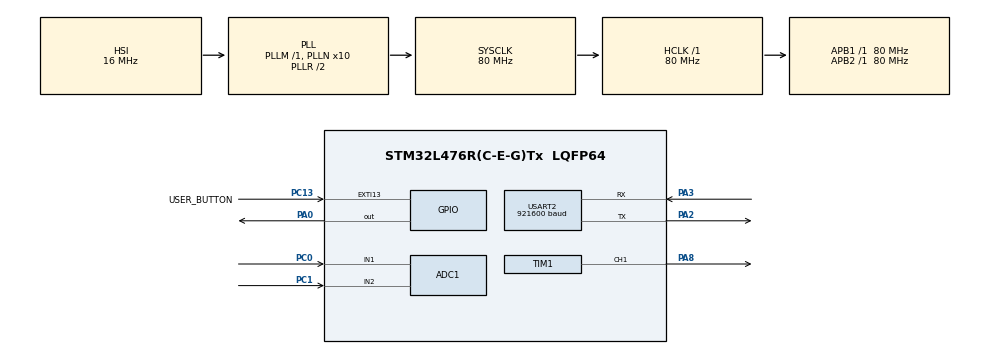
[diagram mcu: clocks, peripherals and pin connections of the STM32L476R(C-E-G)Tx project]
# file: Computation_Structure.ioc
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ADC1.Channel-0\#ChannelRegularConversion=ADC_CHANNEL_1
ADC1.Channel-1\#ChannelRegularConversion=ADC_CHANNEL_2
ADC1.ContinuousConvMode=ENABLE
ADC1.EOCSelection=ADC_EOC_SEQ_CONV
ADC1.NbrOfConversion=2
ADC1.NbrOfConversionFlag=1
ADC1.OffsetNumber-0\#ChannelRegularConversion=ADC_OFFSET_NONE
ADC1.OffsetNumber-1\#ChannelRegularConversion=ADC_OFFSET_NONE
ADC1.Rank-0\#ChannelRegularConversion=1
ADC1.Rank-1\#ChannelRegularConversion=2
ADC1.SamplingTime-0\#ChannelRegularConversion=ADC_SAMPLETIME_2CYCLES_5
ADC1.SamplingTime-1\#ChannelRegularConversion=ADC_SAMPLETIME_2CYCLES_5
ADC1.master=1
Dma.ADC1.1.Direction=DMA_PERIPH_TO_MEMORY
Dma.ADC1.1.Instance=DMA1_Channel1
Dma.ADC1.1.MemDataAlignment=DMA_MDATAALIGN_HALFWORD
Dma.ADC1.1.MemInc=DMA_MINC_ENABLE
Dma.ADC1.1.Mode=DMA_NORMAL
Dma.ADC1.1.PeriphDataAlignment=DMA_PDATAALIGN_HALFWORD
Dma.ADC1.1.PeriphInc=DMA_PINC_DISABLE
Dma.ADC1.1.Priority=DMA_PRIORITY_HIGH
Dma.Request0=USART2_TX
Dma.Request1=ADC1
Dma.USART2_TX.0.Direction=DMA_MEMORY_TO_PERIPH
Dma.USART2_TX.0.Instance=DMA1_Channel7
Dma.USART2_TX.0.MemDataAlignment=DMA_MDATAALIGN_BYTE
Dma.USART2_TX.0.MemInc=DMA_MINC_ENABLE
Dma.USART2_TX.0.Mode=DMA_NORMAL
Dma.USART2_TX.0.PeriphDataAlignment=DMA_PDATAALIGN_BYTE
Dma.USART2_TX.0.PeriphInc=DMA_PINC_DISABLE
Dma.USART2_TX.0.Priority=DMA_PRIORITY_MEDIUM
Mcu.Family=STM32L4
Mcu.Name=STM32L476R(C-E-G)Tx
Mcu.Package=LQFP64
NVIC.DMA1_Channel1_IRQn=true\:0\:0\:false\:false\:true\:false\:true\:true
NVIC.DMA1_Channel7_IRQn=true\:0\:0\:false\:false\:true\:false\:true\:true
NVIC.EXTI15_10_IRQn=true\:0\:0\:false\:false\:true\:true\:true\:true
NVIC.PriorityGroup=NVIC_PRIORITYGROUP_4
NVIC.RTC_Alarm_IRQn=true\:0\:0\:false\:false\:true\:true\:true\:true
NVIC.TIM7_IRQn=true\:0\:0\:false\:false\:true\:true\:true\:true
NVIC.USART2_IRQn=true\:0\:0\:false\:false\:true\:true\:true\:true
PA0.Signal=GPIO_Output
PA2.Mode=Asynchronous
PA2.Signal=USART2_TX
PA3.Mode=Asynchronous
PA3.Signal=USART2_RX
PA8.Signal=S_TIM1_CH1
PC0.Signal=ADCx_IN1
PC1.Signal=ADCx_IN2
PC13.GPIO_Label=USER_BUTTON
PC13.Signal=GPXTI13
PH0-OSC_IN\ (PH0).Mode=HSE-External-Oscillator
PH0-OSC_IN\ (PH0).Signal=RCC_OSC_IN
PH1-OSC_OUT\ (PH1).Mode=HSE-External-Oscillator
PH1-OSC_OUT\ (PH1).Signal=RCC_OSC_OUT
ProjectManager.HeapSize=0x200
ProjectManager.StackSize=0x400
ProjectManager.TargetToolchain=STM32CubeIDE
RCC.ADCFreq_Value=64000000
RCC.AHBFreq_Value=80000000
RCC.APB1Freq_Value=80000000
RCC.APB1TimFreq_Value=80000000
RCC.APB2Freq_Value=80000000
RCC.APB2TimFreq_Value=80000000
RCC.CortexFreq_Value=80000000
RCC.HCLKFreq_Value=80000000
RCC.HSE_VALUE=8000000
RCC.HSI_VALUE=16000000
RCC.LSE_VALUE=32768
RCC.MSI_VALUE=4000000
RCC.PLLN=10
RCC.PLLSourceVirtual=RCC_PLLSOURCE_HSI
RCC.PREFETCH_ENABLE=1
RCC.SYSCLKFreq_VALUE=80000000
RCC.SYSCLKSource=RCC_SYSCLKSOURCE_PLLCLK
RCC.USBFreq_Value=64000000
RCC.VCOOutputFreq_Value=160000000
RTC.Alarm-Alarm\ A=RTC_ALARM_A
SH.ADCx_IN1.0=ADC1_IN1,IN1-Single-Ended
SH.ADCx_IN2.0=ADC1_IN2,IN2-Single-Ended
SH.S_TIM1_CH1.0=TIM1_CH1,PWM Generation1 CH1
TIM1.Channel-PWM\ Generation1\ CH1=TIM_CHANNEL_1
TIM1.Period=100-1
TIM1.Prescaler=800-1
TIM7.Period=10000-1
TIM7.Prescaler=8000-1
USART2.BaudRate=921600
USART2.VirtualMode-Asynchronous=VM_ASYNC
VP_RTC_VS_RTC_Activate.Mode=RTC_Enabled
VP_RTC_VS_RTC_Alarm_A_Intern.Mode=Alarm A
VP_RTC_VS_RTC_Calendar.Mode=RTC_Calendar
VP_TIM1_VS_ClockSourceINT.Mode=Internal
VP_TIM7_VS_ClockSourceINT.Mode=Enable_Timer
board=NUCLEO-L476RG

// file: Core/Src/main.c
/* USER CODE BEGIN Header */
/**
  ******************************************************************************
  * @file           : main.c
  * @brief          : Main program body
  ******************************************************************************
  * @attention
  *
  * Copyright (c) 2023 STMicroelectronics.
  * All rights reserved.
  *
  * This software is licensed under terms that can be found in the LICENSE file
  * in the root directory of this software component.
  * If no LICENSE file comes with this software, it is provided AS-IS.
  *
  ******************************************************************************
  */
/* USER CODE END Header */
#include "main.h"

/* USER CODE BEGIN Includes */
#include <stdio.h>
/* USER CODE END Includes */

ADC_HandleTypeDef hadc1;
DMA_HandleTypeDef hdma_adc1;

RTC_HandleTypeDef hrtc;

TIM_HandleTypeDef htim1;
TIM_HandleTypeDef htim7;

UART_HandleTypeDef huart2;
DMA_HandleTypeDef hdma_usart2_tx;

/* USER CODE BEGIN PV */
uint8_t Rx_data[10];
uint8_t Tx_busy=0;
uint16_t adc_buffer[32];
/* USER CODE END PV */

void SystemClock_Config(void);
static void MX_GPIO_Init(void);
static void MX_DMA_Init(void);
static void MX_USART2_UART_Init(void);
static void MX_TIM7_Init(void);
static void MX_TIM1_Init(void);
static void MX_ADC1_Init(void);
static void MX_RTC_Init(void);

/* USER CODE BEGIN 0 */

int _write(int file, char *ptr, int len)
{
	while (Tx_busy !=0){/* wait*/}
	HAL_UART_Transmit_IT(&huart2, (uint8_t*)ptr,len);
	Tx_busy = 1;
	return len;
}

void HAL_UART_RxCpltCallback(UART_HandleTypeDef *huart)
{
	printf("Receive: [%s]\r\n", Rx_data);
	HAL_UART_Receive_IT(&huart2, Rx_data, 1);//restart the interrupt reception mode
}
void HAL_UART_TxCpltCallback(UART_HandleTypeDef *huart){
	Tx_busy =0;
}
void HAL_TIM_PeriodElapsedCallback(TIM_HandleTypeDef *htim){
	static uint32_t counter =0;
	printf("Counter: %ld\r\n", counter++);
}
void rtc_alarm_config(void)
{
	RTC_DateTypeDef date;
	RTC_TimeTypeDef time;
	RTC_AlarmTypeDef alarm;

	date.Year = 0x23;
	date.Month = RTC_MONTH_OCTOBER;
	date.Date = 0X06;
	date.WeekDay = RTC_WEEKDAY_FRIDAY;
	HAL_RTC_SetDate(&hrtc, &date, RTC_FORMAT_BCD);

	time.Hours = 0x019;
	time.Minutes = 0x10;
	time.Seconds = 0x00;
	time.TimeFormat = RTC_HOURFORMAT_24;
	HAL_RTC_SetTime(&hrtc, &time, RTC_FORMAT_BCD);

	alarm.Alarm = RTC_ALARM_A;
	alarm.AlarmTime.Hours = 0x19;
	alarm.AlarmTime.Minutes =  0x10;
	alarm.AlarmTime.Seconds = 0x10;

	alarm.AlarmTime.TimeFormat = RTC_HOURFORMAT_24;
	alarm.AlarmDateWeekDay = RTC_WEEKDAY_FRIDAY;
	alarm.AlarmDateWeekDaySel = RTC_ALARMDATEWEEKDAYSEL_WEEKDAY;
	alarm.AlarmMask = RTC_ALARMMASK_DATEWEEKDAY;

	HAL_RTC_SetAlarm_IT(&hrtc, &alarm, RTC_FORMAT_BCD);
}
void HAL_RTC_AlarmAEventCallback(RTC_HandleTypeDef *hrtc)
{
	/*turn ld2 on: alarm generation*/
	printf("alarm!!!\r\n");
}

/* USER CODE END 0 */

int main(void)
{

  /* MCU Configuration--------------------------------------------------------*/

  /* Reset of all peripherals, Initializes the Flash interface and the Systick. */
  HAL_Init();

  /* Configure the system clock */
  SystemClock_Config();

  /* Initialize all configured peripherals */
  MX_GPIO_Init();
  MX_DMA_Init();
  MX_USART2_UART_Init();
  MX_TIM7_Init();
  MX_TIM1_Init();
  MX_ADC1_Init();
  MX_RTC_Init();
  /* USER CODE BEGIN 2 */
  HAL_UART_Receive_IT(&huart2, Rx_data, 1);
  HAL_TIM_Base_Start_IT(&htim7);
  TIM1 -> CCR1 = 50;
  HAL_TIM_PWM_Start(&htim1, TIM_CHANNEL_1);

  /* USER CODE END 2 */

  /* Infinite loop */
  /* USER CODE BEGIN WHILE */

  printf("initial values: %d, %d\r\n", adc_buffer[0],adc_buffer[1]);
 // HAL_UART_Receive_IT(&huart2, Rx_data, 1);

 /*
  for (uint8_t idx =0; idx <= 0x0f; idx++)
  	  printf("IDX: %d\r\n", idx);  // imprimir el str
	*/
  //uint8_t my_str[] ="Hello world!\r\n"; //definir un string
  //HAL_UART_Transmit(&huart2, my_str, sizeof(my_str)-1, 10);
  //HAL_UART_Transmit(&huart2, (uint8_t *)"hello world! \r \n", 14, 20);

  uint16_t adc_cont1 = 0;
  uint32_t add = 0;
  rtc_alarm_config();

  while (1)
  {
	  /* the adc_buffer will have the latest values from here*/
	  HAL_ADC_Start_DMA(&hadc1, (uint32_t *) &adc_buffer[add], 2);
	  HAL_Delay(1000);
	  printf("Current values: %d, %d\r\n", adc_buffer[add],adc_buffer[add + 1]);
	  adc_cont1 = adc_buffer[add] + adc_cont1;
	  add = add +2;

	  if (add >= 31)
	  {
		  uint32_t prom =(adc_cont1/16);
		  printf("valor promedio: %ld\r\n", prom);
		  add =0;
	  }

    /* USER CODE END WHILE */

    /* USER CODE BEGIN 3 */
      /*
	  HAL_ADC_Start(&hadc1);
	  HAL_ADC_PollForConversion(&hadc1, 10);
	  uint16_t adc_value = HAL_ADC_GetValue(&hadc1);
	  float adc_voltage = (adc_value / 4096.0) * 3.3;

	  HAL_ADC_PollForConversion(&hadc1, 10);
	  uint16_t adc_value2 = HAL_ADC_GetValue(&hadc1);
	  float adc_voltage2 = (adc_value2 / 4096.0) * 3.3;

	  printf("ADC Reading: %f, %f\r\n",adc_voltage, adc_voltage2);
	  HAL_Delay(1000);*/
  }

  /* USER CODE END 3 */
}

void SystemClock_Config(void)
{
  RCC_OscInitTypeDef RCC_OscInitStruct = {0};
  RCC_ClkInitTypeDef RCC_ClkInitStruct = {0};

  /** Configure the main internal regulator output voltage
  */
  if (HAL_PWREx_ControlVoltageScaling(PWR_REGULATOR_VOLTAGE_SCALE1) != HAL_OK)
  {
    Error_Handler();
  }

  /** Initializes the RCC Oscillators according to the specified parameters
  * in the RCC_OscInitTypeDef structure.
  */
  RCC_OscInitStruct.OscillatorType = RCC_OSCILLATORTYPE_HSI|RCC_OSCILLATORTYPE_LSI;
  RCC_OscInitStruct.HSIState = RCC_HSI_ON;
  RCC_OscInitStruct.HSICalibrationValue = RCC_HSICALIBRATION_DEFAULT;
  RCC_OscInitStruct.LSIState = RCC_LSI_ON;
  RCC_OscInitStruct.PLL.PLLState = RCC_PLL_ON;
  RCC_OscInitStruct.PLL.PLLSource = RCC_PLLSOURCE_HSI;
  RCC_OscInitStruct.PLL.PLLM = 1;
  RCC_OscInitStruct.PLL.PLLN = 10;
  RCC_OscInitStruct.PLL.PLLP = RCC_PLLP_DIV7;
  RCC_OscInitStruct.PLL.PLLQ = RCC_PLLQ_DIV2;
  RCC_OscInitStruct.PLL.PLLR = RCC_PLLR_DIV2;
  if (HAL_RCC_OscConfig(&RCC_OscInitStruct) != HAL_OK)
  {
    Error_Handler();
  }

  /** Initializes the CPU, AHB and APB buses clocks
  */
  RCC_ClkInitStruct.ClockType = RCC_CLOCKTYPE_HCLK|RCC_CLOCKTYPE_SYSCLK
                              |RCC_CLOCKTYPE_PCLK1|RCC_CLOCKTYPE_PCLK2;
  RCC_ClkInitStruct.SYSCLKSource = RCC_SYSCLKSOURCE_PLLCLK;
  RCC_ClkInitStruct.AHBCLKDivider = RCC_SYSCLK_DIV1;
  RCC_ClkInitStruct.APB1CLKDivider = RCC_HCLK_DIV1;
  RCC_ClkInitStruct.APB2CLKDivider = RCC_HCLK_DIV1;

  if (HAL_RCC_ClockConfig(&RCC_ClkInitStruct, FLASH_LATENCY_4) != HAL_OK)
  {
    Error_Handler();
  }
}

static void MX_ADC1_Init(void)
{

  ADC_MultiModeTypeDef multimode = {0};
  ADC_ChannelConfTypeDef sConfig = {0};

  /** Common config
  */
  hadc1.Instance = ADC1;
  hadc1.Init.ClockPrescaler = ADC_CLOCK_ASYNC_DIV1;
  hadc1.Init.Resolution = ADC_RESOLUTION_12B;
  hadc1.Init.DataAlign = ADC_DATAALIGN_RIGHT;
  hadc1.Init.ScanConvMode = ADC_SCAN_ENABLE;
  hadc1.Init.EOCSelection = ADC_EOC_SEQ_CONV;
  hadc1.Init.LowPowerAutoWait = DISABLE;
  hadc1.Init.ContinuousConvMode = ENABLE;
  hadc1.Init.NbrOfConversion = 2;
  hadc1.Init.DiscontinuousConvMode = DISABLE;
  hadc1.Init.ExternalTrigConv = ADC_SOFTWARE_START;
  hadc1.Init.ExternalTrigConvEdge = ADC_EXTERNALTRIGCONVEDGE_NONE;
  hadc1.Init.DMAContinuousRequests = DISABLE;
  hadc1.Init.Overrun = ADC_OVR_DATA_PRESERVED;
  hadc1.Init.OversamplingMode = DISABLE;
  if (HAL_ADC_Init(&hadc1) != HAL_OK)
  {
    Error_Handler();
  }

  /** Configure the ADC multi-mode
  */
  multimode.Mode = ADC_MODE_INDEPENDENT;
  if (HAL_ADCEx_MultiModeConfigChannel(&hadc1, &multimode) != HAL_OK)
  {
    Error_Handler();
  }

  /** Configure Regular Channel
  */
  sConfig.Channel = ADC_CHANNEL_1;
  sConfig.Rank = ADC_REGULAR_RANK_1;
  sConfig.SamplingTime = ADC_SAMPLETIME_2CYCLES_5;
  sConfig.SingleDiff = ADC_SINGLE_ENDED;
  sConfig.OffsetNumber = ADC_OFFSET_NONE;
  sConfig.Offset = 0;
  if (HAL_ADC_ConfigChannel(&hadc1, &sConfig) != HAL_OK)
  {
    Error_Handler();
  }

  /** Configure Regular Channel
  */
  sConfig.Channel = ADC_CHANNEL_2;
  sConfig.Rank = ADC_REGULAR_RANK_2;
  if (HAL_ADC_ConfigChannel(&hadc1, &sConfig) != HAL_OK)
  {
    Error_Handler();
  }

}

static void MX_RTC_Init(void)
{

  RTC_TimeTypeDef sTime = {0};
  RTC_DateTypeDef sDate = {0};
  RTC_AlarmTypeDef sAlarm = {0};

  /** Initialize RTC Only
  */
  hrtc.Instance = RTC;
  hrtc.Init.HourFormat = RTC_HOURFORMAT_24;
  hrtc.Init.AsynchPrediv = 127;
  hrtc.Init.SynchPrediv = 255;
  hrtc.Init.OutPut = RTC_OUTPUT_DISABLE;
  hrtc.Init.OutPutRemap = RTC_OUTPUT_REMAP_NONE;
  hrtc.Init.OutPutPolarity = RTC_OUTPUT_POLARITY_HIGH;
  hrtc.Init.OutPutType = RTC_OUTPUT_TYPE_OPENDRAIN;
  if (HAL_RTC_Init(&hrtc) != HAL_OK)
  {
    Error_Handler();
  }

  /** Initialize RTC and set the Time and Date
  */
  sTime.Hours = 0x0;
  sTime.Minutes = 0x0;
  sTime.Seconds = 0x0;
  sTime.DayLightSaving = RTC_DAYLIGHTSAVING_NONE;
  sTime.StoreOperation = RTC_STOREOPERATION_RESET;
  if (HAL_RTC_SetTime(&hrtc, &sTime, RTC_FORMAT_BCD) != HAL_OK)
  {
    Error_Handler();
  }
  sDate.WeekDay = RTC_WEEKDAY_MONDAY;
  sDate.Month = RTC_MONTH_JANUARY;
  sDate.Date = 0x1;
  sDate.Year = 0x0;

  if (HAL_RTC_SetDate(&hrtc, &sDate, RTC_FORMAT_BCD) != HAL_OK)
  {
    Error_Handler();
  }

  /** Enable the Alarm A
  */
  sAlarm.AlarmTime.Hours = 0x0;
  sAlarm.AlarmTime.Minutes = 0x0;
  sAlarm.AlarmTime.Seconds = 0x0;
  sAlarm.AlarmTime.SubSeconds = 0x0;
  sAlarm.AlarmTime.DayLightSaving = RTC_DAYLIGHTSAVING_NONE;
  sAlarm.AlarmTime.StoreOperation = RTC_STOREOPERATION_RESET;
  sAlarm.AlarmMask = RTC_ALARMMASK_NONE;
  sAlarm.AlarmSubSecondMask = RTC_ALARMSUBSECONDMASK_ALL;
  sAlarm.AlarmDateWeekDaySel = RTC_ALARMDATEWEEKDAYSEL_DATE;
  sAlarm.AlarmDateWeekDay = 0x1;
  sAlarm.Alarm = RTC_ALARM_A;
  if (HAL_RTC_SetAlarm_IT(&hrtc, &sAlarm, RTC_FORMAT_BCD) != HAL_OK)
  {
    Error_Handler();
  }

}

static void MX_TIM1_Init(void)
{

  TIM_ClockConfigTypeDef sClockSourceConfig = {0};
  TIM_MasterConfigTypeDef sMasterConfig = {0};
  TIM_OC_InitTypeDef sConfigOC = {0};
  TIM_BreakDeadTimeConfigTypeDef sBreakDeadTimeConfig = {0};

  htim1.Instance = TIM1;
  htim1.Init.Prescaler = 800-1;
  htim1.Init.CounterMode = TIM_COUNTERMODE_UP;
  htim1.Init.Period = 100-1;
  htim1.Init.ClockDivision = TIM_CLOCKDIVISION_DIV1;
  htim1.Init.RepetitionCounter = 0;
  htim1.Init.AutoReloadPreload = TIM_AUTORELOAD_PRELOAD_DISABLE;
  if (HAL_TIM_Base_Init(&htim1) != HAL_OK)
  {
    Error_Handler();
  }
  sClockSourceConfig.ClockSource = TIM_CLOCKSOURCE_INTERNAL;
  if (HAL_TIM_ConfigClockSource(&htim1, &sClockSourceConfig) != HAL_OK)
  {
    Error_Handler();
  }
  if (HAL_TIM_PWM_Init(&htim1) != HAL_OK)
  {
    Error_Handler();
  }
  sMasterConfig.MasterOutputTrigger = TIM_TRGO_RESET;
  sMasterConfig.MasterOutputTrigger2 = TIM_TRGO2_RESET;
  sMasterConfig.MasterSlaveMode = TIM_MASTERSLAVEMODE_DISABLE;
  if (HAL_TIMEx_MasterConfigSynchronization(&htim1, &sMasterConfig) != HAL_OK)
  {
    Error_Handler();
  }
  sConfigOC.OCMode = TIM_OCMODE_PWM1;
  sConfigOC.Pulse = 0;
  sConfigOC.OCPolarity = TIM_OCPOLARITY_HIGH;
  sConfigOC.OCNPolarity = TIM_OCNPOLARITY_HIGH;
  sConfigOC.OCFastMode = TIM_OCFAST_DISABLE;
  sConfigOC.OCIdleState = TIM_OCIDLESTATE_RESET;
  sConfigOC.OCNIdleState = TIM_OCNIDLESTATE_RESET;
  if (HAL_TIM_PWM_ConfigChannel(&htim1, &sConfigOC, TIM_CHANNEL_1) != HAL_OK)
  {
    Error_Handler();
  }
  sBreakDeadTimeConfig.OffStateRunMode = TIM_OSSR_DISABLE;
  sBreakDeadTimeConfig.OffStateIDLEMode = TIM_OSSI_DISABLE;
  sBreakDeadTimeConfig.LockLevel = TIM_LOCKLEVEL_OFF;
  sBreakDeadTimeConfig.DeadTime = 0;
  sBreakDeadTimeConfig.BreakState = TIM_BREAK_DISABLE;
  sBreakDeadTimeConfig.BreakPolarity = TIM_BREAKPOLARITY_HIGH;
  sBreakDeadTimeConfig.BreakFilter = 0;
  sBreakDeadTimeConfig.Break2State = TIM_BREAK2_DISABLE;
  sBreakDeadTimeConfig.Break2Polarity = TIM_BREAK2POLARITY_HIGH;
  sBreakDeadTimeConfig.Break2Filter = 0;
  sBreakDeadTimeConfig.AutomaticOutput = TIM_AUTOMATICOUTPUT_DISABLE;
  if (HAL_TIMEx_ConfigBreakDeadTime(&htim1, &sBreakDeadTimeConfig) != HAL_OK)
  {
    Error_Handler();
  }
  HAL_TIM_MspPostInit(&htim1);

}

static void MX_TIM7_Init(void)
{

  TIM_MasterConfigTypeDef sMasterConfig = {0};

  htim7.Instance = TIM7;
  htim7.Init.Prescaler = 8000-1;
  htim7.Init.CounterMode = TIM_COUNTERMODE_UP;
  htim7.Init.Period = 10000-1;
  htim7.Init.AutoReloadPreload = TIM_AUTORELOAD_PRELOAD_DISABLE;
  if (HAL_TIM_Base_Init(&htim7) != HAL_OK)
  {
    Error_Handler();
  }
  sMasterConfig.MasterOutputTrigger = TIM_TRGO_RESET;
  sMasterConfig.MasterSlaveMode = TIM_MASTERSLAVEMODE_DISABLE;
  if (HAL_TIMEx_MasterConfigSynchronization(&htim7, &sMasterConfig) != HAL_OK)
  {
    Error_Handler();
  }

}

static void MX_USART2_UART_Init(void)
{

  huart2.Instance = USART2;
  huart2.Init.BaudRate = 921600;
  huart2.Init.WordLength = UART_WORDLENGTH_8B;
  huart2.Init.StopBits = UART_STOPBITS_1;
  huart2.Init.Parity = UART_PARITY_NONE;
  huart2.Init.Mode = UART_MODE_TX_RX;
  huart2.Init.HwFlowCtl = UART_HWCONTROL_NONE;
  huart2.Init.OverSampling = UART_OVERSAMPLING_16;
  huart2.Init.OneBitSampling = UART_ONE_BIT_SAMPLE_DISABLE;
  huart2.AdvancedInit.AdvFeatureInit = UART_ADVFEATURE_NO_INIT;
  if (HAL_UART_Init(&huart2) != HAL_OK)
  {
    Error_Handler();
  }

}

static void MX_DMA_Init(void)
{

  /* DMA controller clock enable */
  __HAL_RCC_DMA1_CLK_ENABLE();

  /* DMA interrupt init */
  /* DMA1_Channel1_IRQn interrupt configuration */
  HAL_NVIC_SetPriority(DMA1_Channel1_IRQn, 0, 0);
  HAL_NVIC_EnableIRQ(DMA1_Channel1_IRQn);
  /* DMA1_Channel7_IRQn interrupt configuration */
  HAL_NVIC_SetPriority(DMA1_Channel7_IRQn, 0, 0);
  HAL_NVIC_EnableIRQ(DMA1_Channel7_IRQn);

}

static void MX_GPIO_Init(void)
{
  GPIO_InitTypeDef GPIO_InitStruct = {0};

  /* GPIO Ports Clock Enable */
  __HAL_RCC_GPIOC_CLK_ENABLE();
  __HAL_RCC_GPIOH_CLK_ENABLE();
  __HAL_RCC_GPIOA_CLK_ENABLE();

  /*Configure GPIO pin Output Level */
  HAL_GPIO_WritePin(GPIOA, GPIO_PIN_0, GPIO_PIN_RESET);

  /*Configure GPIO pin : USER_BUTTON_Pin */
  GPIO_InitStruct.Pin = USER_BUTTON_Pin;
  GPIO_InitStruct.Mode = GPIO_MODE_IT_RISING;
  GPIO_InitStruct.Pull = GPIO_NOPULL;
  HAL_GPIO_Init(USER_BUTTON_GPIO_Port, &GPIO_InitStruct);

  /*Configure GPIO pin : PA0 */
  GPIO_InitStruct.Pin = GPIO_PIN_0;
  GPIO_InitStruct.Mode = GPIO_MODE_OUTPUT_PP;
  GPIO_InitStruct.Pull = GPIO_NOPULL;
  GPIO_InitStruct.Speed = GPIO_SPEED_FREQ_LOW;
  HAL_GPIO_Init(GPIOA, &GPIO_InitStruct);

  /* EXTI interrupt init*/
  HAL_NVIC_SetPriority(EXTI15_10_IRQn, 0, 0);
  HAL_NVIC_EnableIRQ(EXTI15_10_IRQn);

}

void Error_Handler(void)
{
  __disable_irq();
  while (1)
  {
  }
}
